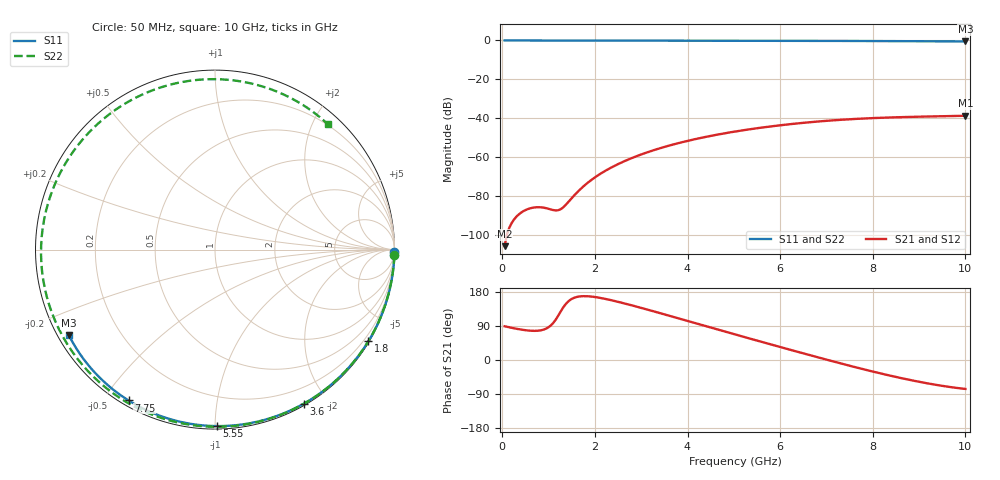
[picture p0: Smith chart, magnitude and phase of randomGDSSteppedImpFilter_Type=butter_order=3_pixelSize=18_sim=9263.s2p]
! freq	dB(S11)	phase(S11)	dB(S12)	phase(S12)
!  dB(S21)	phase(S21)	dB(S22)	phase(S22)
!S-par simulation data
#  GHz  S  DB  R 50
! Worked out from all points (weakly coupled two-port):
!   200 points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, 50 MHz to 10 GHz, reference 50 ohm
!   highest |S21| = -38.79 dB at 10 GHz (marker M1); lowest = -106.0 dB at 50 MHz (marker M2)
!   lowest |S11| = -0.5 dB at 10 GHz (marker M3), VSWR 34.58, Z = 1.55 - j13.5 ohm
!   |S11| at or under -10 dB: nowhere
!   |S22| runs from -0.5 to 0.0 dB; largest |S21 - S12| = 0
!   S11 on the Smith chart (normalised r, x): 50 MHz: open; 1.8 GHz: 0.03, -3.63; 3.6 GHz: 0.02, -1.73; 5.55 GHz: 0.02, -1.01; 7.75 GHz: 0.02, -0.58; 10 GHz: 0.03, -0.27
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0.05  -0.00 -0.9  -105.96 89.0  -105.96 89.0  -0.00 -1.8
0.75  -0.02 -13.0  -85.90 77.1  -85.90 77.1  -0.03 -26.0
1.55  -0.03 -26.6  -79.90 164.1  -79.90 164.1  -0.07 -53.0
1.75  -0.04 -30.0  -75.20 168.5  -75.20 168.5  -0.07 -59.5
1.8  -0.04 -30.8  -74.17 168.5  -74.17 168.5  -0.08 -61.2
2.1  -0.05 -35.8  -68.95 164.2  -68.95 164.2  -0.09 -70.8
2.45  -0.05 -41.6  -64.28 155.0  -64.28 155.0  -0.10 -81.8
2.9  -0.06 -48.9  -59.61 140.8  -59.61 140.8  -0.12 -95.6
3.4  -0.08 -56.9  -55.56 123.9  -55.56 123.9  -0.14 -110.5
3.6  -0.08 -60.1  -54.17 117.0  -54.17 117.0  -0.15 -116.3
4.35  -0.10 -71.6  -49.88 90.9  -49.88 90.9  -0.18 -137.7
5.05  -0.13 -82.1  -46.82 66.7  -46.82 66.7  -0.22 -157.4
5.55  -0.15 -89.4  -45.05 49.6  -45.05 49.6  -0.25 -171.4
6.15  -0.17 -97.9  -43.29 29.2  -43.29 29.2  -0.29 171.5
6.7  -0.20 -105.6  -41.99 10.9  -41.99 10.9  -0.33 155.5
7.2  -0.24 -112.4  -41.05 -5.5  -41.05 -5.5  -0.36 140.5
7.75  -0.28 -119.8  -40.27 -22.9  -40.27 -22.9  -0.39 123.5
8.35  -0.33 -127.8  -39.68 -40.6  -39.68 -40.6  -0.43 104.2
8.75  -0.36 -133.1  -39.41 -51.3  -39.41 -51.3  -0.45 90.9
9.15  -0.40 -138.4  -39.19 -60.9  -39.19 -60.9  -0.47 77.4
9.55  -0.45 -143.7  -39.01 -69.2  -39.01 -69.2  -0.50 63.6
10  -0.50 -149.6  -38.79 -76.3  -38.79 -76.3  -0.54 48.1
